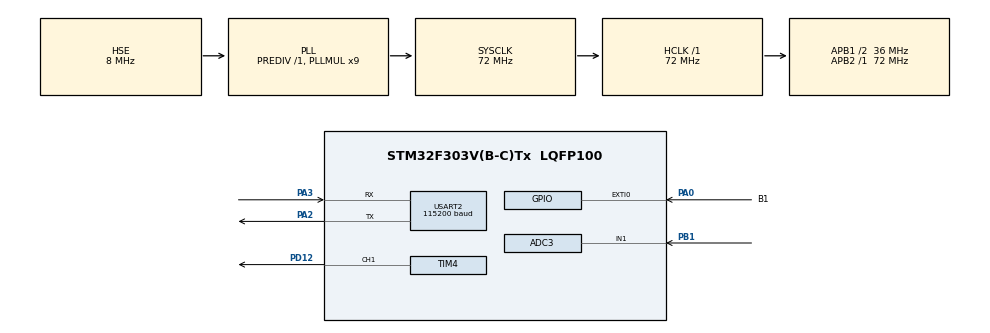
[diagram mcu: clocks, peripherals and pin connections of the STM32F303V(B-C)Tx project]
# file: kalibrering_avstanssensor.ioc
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ADC3.Channel-0\#ChannelRegularConversion=ADC_CHANNEL_1
ADC3.ExternalTrigConv=ADC_EXTERNALTRIGCONV_T7_TRGO
ADC3.NbrOfConversionFlag=1
ADC3.Offset-0\#ChannelRegularConversion=0
ADC3.OffsetNumber-0\#ChannelRegularConversion=ADC_OFFSET_NONE
ADC3.Rank-0\#ChannelRegularConversion=1
ADC3.SamplingTime-0\#ChannelRegularConversion=ADC_SAMPLETIME_1CYCLE_5
ADC3.SamplingTimeOPAMP-0\#ChannelRegularConversion=ADC_SAMPLETIME_61CYCLES_5
ADC3.master=1
Mcu.Family=STM32F3
Mcu.Name=STM32F303V(B-C)Tx
Mcu.Package=LQFP100
NVIC.ADC3_IRQn=true\:0\:0\:false\:false\:true\:true\:true\:true
NVIC.EXTI0_IRQn=true\:0\:0\:false\:false\:true\:true\:true\:true
NVIC.PriorityGroup=NVIC_PRIORITYGROUP_0
NVIC.USART2_IRQn=true\:0\:0\:false\:false\:true\:true\:true\:true
PA0.GPIO_Label=B1
PA0.Signal=GPXTI0
PA13.GPIO_Label=SWDIO
PA13.Mode=Serial_Wire
PA13.Signal=SYS_JTMS-SWDIO
PA14.GPIO_Label=SWCLK
PA14.Mode=Serial_Wire
PA14.Signal=SYS_JTCK-SWCLK
PA2.Mode=Asynchronous
PA2.Signal=USART2_TX
PA3.Mode=Asynchronous
PA3.Signal=USART2_RX
PB1.Mode=IN1-Single-Ended
PB1.Signal=ADC3_IN1
PB3.GPIO_Label=SWO
PB3.Signal=SYS_JTDO-TRACESWO
PC14-OSC32_IN.GPIO_Label=OSC32_IN
PC14-OSC32_IN.Signal=RCC_OSC32_IN
PC15-OSC32_OUT.GPIO_Label=OSC32_OUT
PC15-OSC32_OUT.Signal=RCC_OSC32_OUT
PD12.Signal=S_TIM4_CH1
PF0-OSC_IN.GPIO_Label=OSC_IN
PF0-OSC_IN.Mode=HSE-External-Oscillator
PF0-OSC_IN.Signal=RCC_OSC_IN
PF1-OSC_OUT.GPIO_Label=OSC_OUT
PF1-OSC_OUT.Mode=HSE-External-Oscillator
PF1-OSC_OUT.Signal=RCC_OSC_OUT
ProjectManager.HeapSize=0x200
ProjectManager.StackSize=0x400
ProjectManager.TargetToolchain=STM32CubeIDE
RCC.AHBFreq_Value=72000000
RCC.APB1CLKDivider=RCC_HCLK_DIV2
RCC.APB1Freq_Value=36000000
RCC.APB1TimFreq_Value=72000000
RCC.APB2Freq_Value=72000000
RCC.APB2TimFreq_Value=72000000
RCC.CortexFreq_Value=72000000
RCC.HCLKFreq_Value=72000000
RCC.HSE_VALUE=8000000
RCC.HSI_VALUE=8000000
RCC.LSE_VALUE=32768
RCC.PLLMUL=RCC_PLL_MUL9
RCC.PLLSourceVirtual=RCC_PLLSOURCE_HSE
RCC.SYSCLKFreq_VALUE=72000000
RCC.SYSCLKSourceVirtual=RCC_SYSCLKSOURCE_PLLCLK
RCC.USBFreq_Value=72000000
SH.S_TIM4_CH1.0=TIM4_CH1,PWM Generation1 CH1
TIM4.Channel-PWM\ Generation1\ CH1=TIM_CHANNEL_1
TIM4.Period=249
TIM4.Prescaler=71
TIM4.Pulse-PWM\ Generation1\ CH1=125
TIM7.Period=99
TIM7.Prescaler=7199
TIM7.TIM_MasterOutputTrigger=TIM_TRGO_UPDATE
USART2.BaudRate=115200
USART2.VirtualMode-Asynchronous=VM_ASYNC
VP_TIM7_VS_ClockSourceINT.Mode=Enable_Timer
board=STM32F3DISCOVERY

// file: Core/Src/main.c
/* USER CODE BEGIN Header */
/**
  ******************************************************************************
  * @file           : main.c
  * @brief          : Main program body
  ******************************************************************************
  * @attention
  *
  * Copyright (c) 2025 STMicroelectronics.
  * All rights reserved.
  *
  * This software is licensed under terms that can be found in the LICENSE file
  * in the root directory of this software component.
  * If no LICENSE file comes with this software, it is provided AS-IS.
  *
  ******************************************************************************
  */
/* USER CODE END Header */
#include "main.h"

ADC_HandleTypeDef hadc3;

TIM_HandleTypeDef htim4;
TIM_HandleTypeDef htim7;

UART_HandleTypeDef huart2;

/* USER CODE BEGIN PV */
volatile uint16_t button_press_count = 0;
volatile uint32_t adc_mV = 0;
volatile uint16_t last_pos = 0;
volatile uint8_t transmit_pending = 0;
/* USER CODE END PV */

void SystemClock_Config(void);
static void MX_GPIO_Init(void);
static void MX_ADC3_Init(void);
static void MX_TIM4_Init(void);
static void MX_USART2_UART_Init(void);
static void MX_TIM7_Init(void);

int main(void)
{

  /* MCU Configuration--------------------------------------------------------*/

  /* Reset of all peripherals, Initializes the Flash interface and the Systick. */
  HAL_Init();

  /* Configure the system clock */
  SystemClock_Config();

  /* Initialize all configured peripherals */
  MX_GPIO_Init();
  MX_ADC3_Init();
  MX_TIM4_Init();
  MX_USART2_UART_Init();
  MX_TIM7_Init();
  /* USER CODE BEGIN 2 */
  HAL_TIM_PWM_Start(&htim4, TIM_CHANNEL_1); // Start PWM on TIM4 Channel 1
  HAL_ADCEx_Calibration_Start(&hadc3, ADC_SINGLE_ENDED); // Calibrate ADC3
  HAL_TIM_Base_Start(&htim7); // Start TIM7 base generation

  HAL_ADC_Start_IT(&hadc3);

  /* USER CODE END 2 */

  /* Infinite loop */
  while (1)
  {

  }
}

void SystemClock_Config(void)
{
  RCC_OscInitTypeDef RCC_OscInitStruct = {0};
  RCC_ClkInitTypeDef RCC_ClkInitStruct = {0};
  RCC_PeriphCLKInitTypeDef PeriphClkInit = {0};

  /** Initializes the RCC Oscillators according to the specified parameters
  * in the RCC_OscInitTypeDef structure.
  */
  RCC_OscInitStruct.OscillatorType = RCC_OSCILLATORTYPE_HSE;
  RCC_OscInitStruct.HSEState = RCC_HSE_ON;
  RCC_OscInitStruct.HSEPredivValue = RCC_HSE_PREDIV_DIV1;
  RCC_OscInitStruct.HSIState = RCC_HSI_ON;
  RCC_OscInitStruct.PLL.PLLState = RCC_PLL_ON;
  RCC_OscInitStruct.PLL.PLLSource = RCC_PLLSOURCE_HSE;
  RCC_OscInitStruct.PLL.PLLMUL = RCC_PLL_MUL9;
  if (HAL_RCC_OscConfig(&RCC_OscInitStruct) != HAL_OK)
  {
    Error_Handler();
  }

  /** Initializes the CPU, AHB and APB buses clocks
  */
  RCC_ClkInitStruct.ClockType = RCC_CLOCKTYPE_HCLK|RCC_CLOCKTYPE_SYSCLK
                              |RCC_CLOCKTYPE_PCLK1|RCC_CLOCKTYPE_PCLK2;
  RCC_ClkInitStruct.SYSCLKSource = RCC_SYSCLKSOURCE_PLLCLK;
  RCC_ClkInitStruct.AHBCLKDivider = RCC_SYSCLK_DIV1;
  RCC_ClkInitStruct.APB1CLKDivider = RCC_HCLK_DIV2;
  RCC_ClkInitStruct.APB2CLKDivider = RCC_HCLK_DIV1;

  if (HAL_RCC_ClockConfig(&RCC_ClkInitStruct, FLASH_LATENCY_2) != HAL_OK)
  {
    Error_Handler();
  }
  PeriphClkInit.PeriphClockSelection = RCC_PERIPHCLK_USART2|RCC_PERIPHCLK_ADC34;
  PeriphClkInit.Usart2ClockSelection = RCC_USART2CLKSOURCE_PCLK1;
  PeriphClkInit.Adc34ClockSelection = RCC_ADC34PLLCLK_DIV1;
  if (HAL_RCCEx_PeriphCLKConfig(&PeriphClkInit) != HAL_OK)
  {
    Error_Handler();
  }
}

static void MX_ADC3_Init(void)
{

  ADC_MultiModeTypeDef multimode = {0};
  ADC_ChannelConfTypeDef sConfig = {0};

  /** Common config
  */
  hadc3.Instance = ADC3;
  hadc3.Init.ClockPrescaler = ADC_CLOCK_ASYNC_DIV1;
  hadc3.Init.Resolution = ADC_RESOLUTION_12B;
  hadc3.Init.ScanConvMode = ADC_SCAN_DISABLE;
  hadc3.Init.ContinuousConvMode = DISABLE;
  hadc3.Init.DiscontinuousConvMode = DISABLE;
  hadc3.Init.ExternalTrigConvEdge = ADC_EXTERNALTRIGCONVEDGE_RISING;
  hadc3.Init.ExternalTrigConv = ADC_EXTERNALTRIGCONV_T7_TRGO;
  hadc3.Init.DataAlign = ADC_DATAALIGN_RIGHT;
  hadc3.Init.NbrOfConversion = 1;
  hadc3.Init.DMAContinuousRequests = DISABLE;
  hadc3.Init.EOCSelection = ADC_EOC_SINGLE_CONV;
  hadc3.Init.LowPowerAutoWait = DISABLE;
  hadc3.Init.Overrun = ADC_OVR_DATA_OVERWRITTEN;
  if (HAL_ADC_Init(&hadc3) != HAL_OK)
  {
    Error_Handler();
  }

  /** Configure the ADC multi-mode
  */
  multimode.Mode = ADC_MODE_INDEPENDENT;
  if (HAL_ADCEx_MultiModeConfigChannel(&hadc3, &multimode) != HAL_OK)
  {
    Error_Handler();
  }

  /** Configure Regular Channel
  */
  sConfig.Channel = ADC_CHANNEL_1;
  sConfig.Rank = ADC_REGULAR_RANK_1;
  sConfig.SingleDiff = ADC_SINGLE_ENDED;
  sConfig.SamplingTime = ADC_SAMPLETIME_1CYCLE_5;
  sConfig.OffsetNumber = ADC_OFFSET_NONE;
  sConfig.Offset = 0;
  if (HAL_ADC_ConfigChannel(&hadc3, &sConfig) != HAL_OK)
  {
    Error_Handler();
  }

}

static void MX_TIM4_Init(void)
{

  TIM_MasterConfigTypeDef sMasterConfig = {0};
  TIM_OC_InitTypeDef sConfigOC = {0};

  htim4.Instance = TIM4;
  htim4.Init.Prescaler = 71;
  htim4.Init.CounterMode = TIM_COUNTERMODE_UP;
  htim4.Init.Period = 249;
  htim4.Init.ClockDivision = TIM_CLOCKDIVISION_DIV1;
  htim4.Init.AutoReloadPreload = TIM_AUTORELOAD_PRELOAD_DISABLE;
  if (HAL_TIM_PWM_Init(&htim4) != HAL_OK)
  {
    Error_Handler();
  }
  sMasterConfig.MasterOutputTrigger = TIM_TRGO_RESET;
  sMasterConfig.MasterSlaveMode = TIM_MASTERSLAVEMODE_DISABLE;
  if (HAL_TIMEx_MasterConfigSynchronization(&htim4, &sMasterConfig) != HAL_OK)
  {
    Error_Handler();
  }
  sConfigOC.OCMode = TIM_OCMODE_PWM1;
  sConfigOC.Pulse = 125;
  sConfigOC.OCPolarity = TIM_OCPOLARITY_HIGH;
  sConfigOC.OCFastMode = TIM_OCFAST_DISABLE;
  if (HAL_TIM_PWM_ConfigChannel(&htim4, &sConfigOC, TIM_CHANNEL_1) != HAL_OK)
  {
    Error_Handler();
  }
  HAL_TIM_MspPostInit(&htim4);

}

static void MX_TIM7_Init(void)
{

  TIM_MasterConfigTypeDef sMasterConfig = {0};

  htim7.Instance = TIM7;
  htim7.Init.Prescaler = 7199;
  htim7.Init.CounterMode = TIM_COUNTERMODE_UP;
  htim7.Init.Period = 99;
  htim7.Init.AutoReloadPreload = TIM_AUTORELOAD_PRELOAD_DISABLE;
  if (HAL_TIM_Base_Init(&htim7) != HAL_OK)
  {
    Error_Handler();
  }
  sMasterConfig.MasterOutputTrigger = TIM_TRGO_UPDATE;
  sMasterConfig.MasterSlaveMode = TIM_MASTERSLAVEMODE_DISABLE;
  if (HAL_TIMEx_MasterConfigSynchronization(&htim7, &sMasterConfig) != HAL_OK)
  {
    Error_Handler();
  }

}

static void MX_USART2_UART_Init(void)
{

  huart2.Instance = USART2;
  huart2.Init.BaudRate = 115200;
  huart2.Init.WordLength = UART_WORDLENGTH_8B;
  huart2.Init.StopBits = UART_STOPBITS_1;
  huart2.Init.Parity = UART_PARITY_NONE;
  huart2.Init.Mode = UART_MODE_TX_RX;
  huart2.Init.HwFlowCtl = UART_HWCONTROL_NONE;
  huart2.Init.OverSampling = UART_OVERSAMPLING_16;
  huart2.Init.OneBitSampling = UART_ONE_BIT_SAMPLE_DISABLE;
  huart2.AdvancedInit.AdvFeatureInit = UART_ADVFEATURE_NO_INIT;
  if (HAL_UART_Init(&huart2) != HAL_OK)
  {
    Error_Handler();
  }

}

static void MX_GPIO_Init(void)
{
  GPIO_InitTypeDef GPIO_InitStruct = {0};

  /* GPIO Ports Clock Enable */
  __HAL_RCC_GPIOC_CLK_ENABLE();
  __HAL_RCC_GPIOF_CLK_ENABLE();
  __HAL_RCC_GPIOA_CLK_ENABLE();
  __HAL_RCC_GPIOB_CLK_ENABLE();
  __HAL_RCC_GPIOD_CLK_ENABLE();

  /*Configure GPIO pin : B1_Pin */
  GPIO_InitStruct.Pin = B1_Pin;
  GPIO_InitStruct.Mode = GPIO_MODE_IT_RISING;
  GPIO_InitStruct.Pull = GPIO_NOPULL;
  HAL_GPIO_Init(B1_GPIO_Port, &GPIO_InitStruct);

  /* EXTI interrupt init*/
  HAL_NVIC_SetPriority(EXTI0_IRQn, 0, 0);
  HAL_NVIC_EnableIRQ(EXTI0_IRQn);

}

/* USER CODE BEGIN 4 */

void HAL_GPIO_EXTI_Callback(uint16_t GPIO_Pin)
{
  if (GPIO_Pin == B1_Pin) // Check if the interrupt is from pin PA0
  {
     uint16_t pos;
     button_press_count++;

     if (button_press_count == 1) pos = 200;
     else pos = 300 + (uint16_t)(button_press_count - 2) * 100;

     if (pos <= 1000)
     {
         last_pos = pos;
         transmit_pending = 1;
         // Trigger TIM7 update event (TIM7 is configured to TRGO_UPDATE)
         HAL_TIM_GenerateEvent(&htim7, TIM_EVENTSOURCE_UPDATE);
     }
     else
     {
         uint8_t data_buffer[4] = {0, 0, 0, 0};
         HAL_UART_Transmit_IT(&huart2, (uint8_t*)data_buffer, sizeof(data_buffer)); // Transmit zeros over UART
         button_press_count = 0; // Reset count
     }
  }
}

// ADC conversion complete callback: read ADC3 and transmit if requested
void HAL_ADC_ConvCpltCallback(ADC_HandleTypeDef* hadc)
{
  if (hadc->Instance == ADC3)
  {
    uint32_t adc_value = HAL_ADC_GetValue(hadc);
    adc_mV = (adc_value * 3000UL) / 4096UL; // adjust Vref as needed

    if (transmit_pending)
    {
      uint8_t data_buffer[4];
      data_buffer[0] = last_pos & 0xFF;
      data_buffer[1] = (last_pos >> 8) & 0xFF;
      data_buffer[2] = adc_mV & 0xFF;
      data_buffer[3] = (adc_mV >> 8) & 0xFF;
      HAL_UART_Transmit_IT(&huart2, data_buffer, sizeof(data_buffer));
      transmit_pending = 0;
    }
  }
}

/* USER CODE END 4 */

void Error_Handler(void)
{
  __disable_irq();
  while (1)
  {
  }
}
